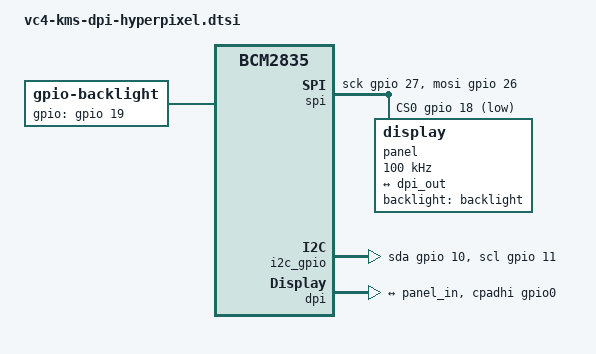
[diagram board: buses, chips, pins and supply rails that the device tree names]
/*
 * vc4-kms-dpi-hyperpixel4.dtsi
 * Commmon initialisation for HyperPixel DPI displays
 */

#include <dt-bindings/gpio/gpio.h>
#include <dt-bindings/pinctrl/bcm2835.h>

/ {
	compatible = "brcm,bcm2835";

	fragment@0 {
		target-path = "/";
		__overlay__ {
			spi {
				compatible = "spi-gpio";
				#address-cells = <1>;
				#size-cells = <0>;
				pinctrl-0 = <&spi_pins>;
				pinctrl-names = "default";

				sck-gpios = <&gpio 27 GPIO_ACTIVE_HIGH>;
				mosi-gpios = <&gpio 26 GPIO_ACTIVE_HIGH>;
				cs-gpios = <&gpio 18 GPIO_ACTIVE_LOW>;
				num-chipselects = <1>;
				sck-idle-input;

				panel: display@0 {
					reg = <0>;
					/* 100 kHz */
					spi-max-frequency = <100000>;
					backlight = <&backlight>;
					rotation = <0>;

					port {
						panel_in: endpoint {
							remote-endpoint = <&dpi_out>;
						};
					};
				};
			};

			backlight: backlight {
				compatible = "gpio-backlight";
				gpios = <&gpio 19 0>;
			};
		};
	};

	fragment@1 {
		target = <&dpi>;
		__overlay__  {
			status = "okay";

			pinctrl-names = "default";
			pinctrl-0 = <&dpi_18bit_cpadhi_gpio0>;

			port {
				dpi_out: endpoint {
					remote-endpoint = <&panel_in>;
				};
			};
		};
	};

	fragment@2 {
		target = <&gpio>;
		__overlay__ {
			spi_pins: hyperpixel4_spi_pins {
				brcm,pins = <27 18 26>;
				brcm,pull = <BCM2835_PUD_UP BCM2835_PUD_UP BCM2835_PUD_OFF>;
				brcm,function = <0>;
			};
		};
	};

	fragment@3 {
		target-path = "/";
		__overlay__ {
			i2c_gpio: i2c@0 {
				compatible = "i2c-gpio";
				gpios = <&gpio 10 0 /* sda */
					 &gpio 11 0>; /* scl */
				i2c-gpio,delay-us = <4>;        /* ~100 kHz */
				#address-cells = <1>;
				#size-cells = <0>;
			};
		};
	};

	__overrides__ {
		rotate = <&panel>, "rotation:0";
	};
};
